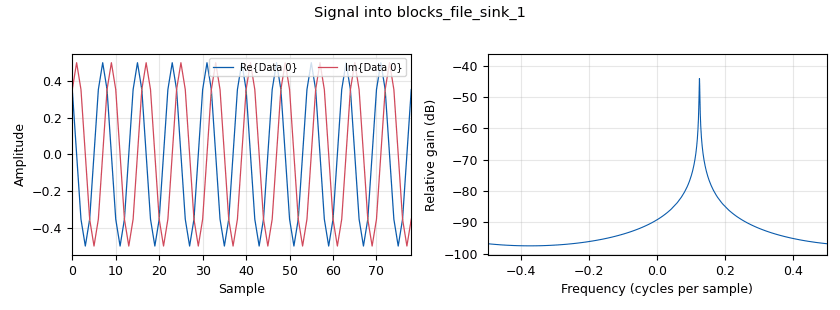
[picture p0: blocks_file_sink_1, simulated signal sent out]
<?xml version='1.0' encoding='utf-8'?>
<?grc format='1' created='3.7.13'?>
<flow_graph>
<block>
<key>options</key>
<param><key>id</key><value>generate_waveform_sine</value></param>
<param><key>author</key><value>Krishna Makhija</value></param>
<param><key>description</key><value>GR flograph for generating a calibration waveform. The waveform will be ON/OFF keyed to mitigate multipath, enable phase consistency and averaging.</value></param>
<param><key>generate_options</key><value>qt_gui</value></param>
<param><key>realtime_scheduling</key><value>1</value></param>
<param><key>run_options</key><value>run</value></param>
</block>
<block>
<key>variable</key>
<param><key>id</key><value>OFF</value></param>
<param><key>value</key><value>int(OFF_cycles*samps_per_period)</value></param>
</block>
<block>
<key>variable</key>
<param><key>id</key><value>OFF_cycles</value></param>
<param><key>value</key><value>3*ON_cycles</value></param>
</block>
<block>
<key>variable</key>
<param><key>id</key><value>OFF_time</value></param>
<param><key>value</key><value>OFF/samp_rate</value></param>
</block>
<block>
<key>variable</key>
<param><key>id</key><value>ON</value></param>
<param><key>value</key><value>int(ON_cycles*samps_per_period)</value></param>
</block>
<block>
<key>variable</key>
<param><key>id</key><value>ON_cycles</value></param>
<param><key>value</key><value>128</value></param>
</block>
<block>
<key>variable</key>
<param><key>id</key><value>ON_time</value></param>
<param><key>value</key><value>ON/samp_rate</value></param>
</block>
<block>
<key>variable</key>
<param><key>id</key><value>PASS</value></param>
<param><key>value</key><value>ON+OFF</value></param>
</block>
<block>
<key>variable</key>
<param><key>id</key><value>Q</value></param>
<param><key>value</key><value>head*4</value></param>
</block>
<block>
<key>variable</key>
<param><key>id</key><value>TX_time</value></param>
<param><key>value</key><value>head/samp_rate</value></param>
</block>
<block>
<key>variable</key>
<param><key>id</key><value>TX_time_1</value></param>
<param><key>comment</key><value>Time to calibrate per WP.</value></param>
<param><key>value</key><value>pulse_time * pulses</value></param>
</block>
<block>
<key>variable</key>
<param><key>id</key><value>WAIT</value></param>
<param><key>value</key><value>ON+OFF</value></param>
</block>
<block>
<key>variable</key>
<param><key>id</key><value>center_freq</value></param>
<param><key>value</key><value>150e6</value></param>
</block>
<block>
<key>variable</key>
<param><key>id</key><value>duty_cycle</value></param>
<param><key>value</key><value>OFF/ON</value></param>
</block>
<block>
<key>variable</key>
<param><key>id</key><value>freq</value></param>
<param><key>value</key><value>center_freq - wave_freq</value></param>
</block>
<block>
<key>variable</key>
<param><key>id</key><value>gain</value></param>
<param><key>value</key><value>20</value></param>
</block>
<block>
<key>variable</key>
<param><key>id</key><value>gauss_envelope</value></param>
<param><key>value</key><value>np.exp(-(2*np.pi*freq*t/Q)**2)</value></param>
</block>
<block>
<key>variable</key>
<param><key>id</key><value>head</value></param>
<param><key>value</key><value>(ON+OFF)*16</value></param>
</block>
<block>
<key>variable</key>
<param><key>id</key><value>min_buffer</value></param>
<param><key>value</key><value>512*4096</value></param>
</block>
<block>
<key>variable</key>
<param><key>id</key><value>pulse_time</value></param>
<param><key>value</key><value>(ON+OFF)/samp_rate</value></param>
</block>
<block>
<key>variable</key>
<param><key>id</key><value>pulses</value></param>
<param><key>value</key><value>96*2</value></param>
</block>
<block>
<key>variable</key>
<param><key>id</key><value>ring_buffer_size</value></param>
<param><key>value</key><value>4096</value></param>
</block>
<block>
<key>variable</key>
<param><key>id</key><value>samp_rate</value></param>
<param><key>value</key><value>7.68e6</value></param>
</block>
<block>
<key>variable</key>
<param><key>id</key><value>samps_per_period</value></param>
<param><key>value</key><value>wave_samp_rate/wave_freq</value></param>
</block>
<block>
<key>variable</key>
<param><key>id</key><value>stopTime</value></param>
<param><key>value</key><value>ON/samp_rate</value></param>
</block>
<block>
<key>variable</key>
<param><key>id</key><value>t</value></param>
<param><key>value</key><value>np.linspace(-stopTime/2, stopTime/2, ON)</value></param>
</block>
<block>
<key>variable</key>
<param><key>id</key><value>timeout</value></param>
<param><key>value</key><value>4096/samp_rate</value></param>
</block>
<block>
<key>variable_tag_object</key>
<param><key>id</key><value>variable_tag_object_0</value></param>
<param><key>key</key><value>pmt.intern("key")</value></param>
<param><key>offset</key><value>0</value></param>
<param><key>src</key><value>pmt.intern("src")</value></param>
<param><key>value</key><value>pmt.intern("value")</value></param>
</block>
<block>
<key>variable</key>
<param><key>id</key><value>wave_freq</value></param>
<param><key>value</key><value>samp_rate/8</value></param>
</block>
<block>
<key>variable</key>
<param><key>id</key><value>wave_samp_rate</value></param>
<param><key>value</key><value>samp_rate</value></param>
</block>
<block>
<key>analog_sig_source_x</key>
<param><key>id</key><value>analog_sig_source_x_0</value></param>
<param><key>amp</key><value>1</value></param>
<param><key>freq</key><value>wave_freq</value></param>
<param><key>offset</key><value>0</value></param>
<param><key>type</key><value>complex</value></param>
<param><key>samp_rate</key><value>wave_samp_rate</value></param>
<param><key>waveform</key><value>analog.GR_COS_WAVE</value></param>
</block>
<block>
<key>blocks_add_xx</key>
<param><key>id</key><value>blocks_add_xx_0</value></param>
<param><key>_enabled</key><value>0</value></param>
<param><key>type</key><value>complex</value></param>
</block>
<block>
<key>blocks_file_sink</key>
<param><key>id</key><value>blocks_file_sink_1</value></param>
<param><key>file</key><value>/home/kmakhija/catkin_ws/src/Drone-Project-code/Payload Computer/sine_waveform</value></param>
<param><key>type</key><value>complex</value></param>
</block>
<block>
<key>blocks_file_source</key>
<param><key>id</key><value>blocks_file_source_1</value></param>
<param><key>_enabled</key><value>0</value></param>
<param><key>file</key><value>/home/kmakhija/catkin_ws/src/Drone-Project-code/Payload Computer/sine_waveform</value></param>
<param><key>type</key><value>complex</value></param>
<param><key>repeat</key><value>True</value></param>
</block>
<block>
<key>blocks_head</key>
<param><key>id</key><value>blocks_head_0_0_0</value></param>
<param><key>num_items</key><value>head</value></param>
<param><key>type</key><value>complex</value></param>
</block>
<block>
<key>blocks_multiply_const_vxx</key>
<param><key>id</key><value>blocks_multiply_const_vxx_0</value></param>
<param><key>const</key><value>0.5</value></param>
<param><key>type</key><value>complex</value></param>
</block>
<block>
<key>blocks_multiply_const_vxx</key>
<param><key>id</key><value>blocks_multiply_const_vxx_1</value></param>
<param><key>const</key><value>gauss_envelope</value></param>
<param><key>_enabled</key><value>2</value></param>
<param><key>type</key><value>complex</value></param>
<param><key>maxoutbuf</key><value>4096</value></param>
<param><key>minoutbuf</key><value>4096</value></param>
<param><key>vlen</key><value>ring_buffer_size</value></param>
</block>
<block>
<key>blocks_multiply_xx</key>
<param><key>id</key><value>blocks_multiply_xx_0</value></param>
<param><key>type</key><value>complex</value></param>
<param><key>maxoutbuf</key><value>ring_buffer_size</value></param>
<param><key>minoutbuf</key><value>ring_buffer_size</value></param>
</block>
<block>
<key>blocks_stream_to_vector</key>
<param><key>id</key><value>blocks_stream_to_vector_0</value></param>
<param><key>_enabled</key><value>2</value></param>
<param><key>type</key><value>complex</value></param>
<param><key>num_items</key><value>ring_buffer_size</value></param>
</block>
<block>
<key>blocks_throttle</key>
<param><key>id</key><value>blocks_throttle_0</value></param>
<param><key>maxoutbuf</key><value>ring_buffer_size</value></param>
<param><key>minoutbuf</key><value>ring_buffer_size</value></param>
<param><key>samples_per_second</key><value>samp_rate</value></param>
<param><key>type</key><value>complex</value></param>
</block>
<block>
<key>blocks_throttle</key>
<param><key>id</key><value>blocks_throttle_0_0</value></param>
<param><key>_enabled</key><value>0</value></param>
<param><key>maxoutbuf</key><value>ring_buffer_size</value></param>
<param><key>minoutbuf</key><value>ring_buffer_size</value></param>
<param><key>samples_per_second</key><value>samp_rate</value></param>
<param><key>type</key><value>complex</value></param>
</block>
<block>
<key>blocks_vector_source_x</key>
<param><key>id</key><value>blocks_vector_source_x_0</value></param>
<param><key>maxoutbuf</key><value>ring_buffer_size</value></param>
<param><key>minoutbuf</key><value>ring_buffer_size</value></param>
<param><key>type</key><value>complex</value></param>
<param><key>repeat</key><value>True</value></param>
<param><key>vector</key><value>np.hstack((np.zeros(OFF), np.ones(ON)))</value></param>
</block>
<block>
<key>blocks_vector_source_x</key>
<param><key>id</key><value>blocks_vector_source_x_1</value></param>
<param><key>comment</key><value>Create an initialization pulse that has higher amplitude for 
identification during post processing.</value></param>
<param><key>_enabled</key><value>0</value></param>
<param><key>type</key><value>complex</value></param>
<param><key>repeat</key><value>True</value></param>
<param><key>vector</key><value>np.hstack((2*np.ones(ON), np.zeros(OFF), np.zeros(pulses*PASS)))</value></param>
</block>
<block>
<key>blocks_vector_to_stream</key>
<param><key>id</key><value>blocks_vector_to_stream_0</value></param>
<param><key>_enabled</key><value>2</value></param>
<param><key>type</key><value>complex</value></param>
<param><key>num_items</key><value>ring_buffer_size</value></param>
</block>
<block>
<key>import</key>
<param><key>id</key><value>import_0</value></param>
<param><key>import</key><value>import numpy as np</value></param>
</block>
<block>
<key>import</key>
<param><key>id</key><value>numpy</value></param>
<param><key>import</key><value>import numpy as np</value></param>
</block>
<block>
<key>qtgui_freq_sink_x</key>
<param><key>id</key><value>qtgui_freq_sink_x_0</value></param>
<param><key>bw</key><value>samp_rate</value></param>
<param><key>fc</key><value>0</value></param>
<param><key>ctrlpanel</key><value>True</value></param>
<param><key>_enabled</key><value>0</value></param>
<param><key>fftsize</key><value>4096</value></param>
<param><key>showports</key><value>True</value></param>
<param><key>tr_level</key><value>-18</value></param>
<param><key>tr_mode</key><value>qtgui.TRIG_MODE_NORM</value></param>
<param><key>type</key><value>complex</value></param>
<param><key>wintype</key><value>firdes.WIN_BLACKMAN_hARRIS</value></param>
<param><key>ymin</key><value>-200</value></param>
</block>
<block>
<key>qtgui_time_sink_x</key>
<param><key>id</key><value>qtgui_time_sink_x_0</value></param>
<param><key>ctrlpanel</key><value>True</value></param>
<param><key>_enabled</key><value>0</value></param>
<param><key>color1</key><value>"blue"</value></param>
<param><key>label1</key><value></value></param>
<param><key>color2</key><value>"red"</value></param>
<param><key>label2</key><value></value></param>
<param><key>size</key><value>1024</value></param>
<param><key>srate</key><value>samp_rate</value></param>
<param><key>type</key><value>complex</value></param>
</block>
<block>
<key>qtgui_time_sink_x</key>
<param><key>id</key><value>qtgui_time_sink_x_0_0</value></param>
<param><key>ctrlpanel</key><value>True</value></param>
<param><key>_enabled</key><value>0</value></param>
<param><key>color1</key><value>"blue"</value></param>
<param><key>label1</key><value></value></param>
<param><key>color2</key><value>"red"</value></param>
<param><key>label2</key><value></value></param>
<param><key>size</key><value>1024*128</value></param>
<param><key>srate</key><value>samp_rate</value></param>
<param><key>type</key><value>complex</value></param>
</block>
<connection><source_block_id>analog_sig_source_x_0</source_block_id><sink_block_id>blocks_multiply_xx_0</sink_block_id><source_key>0</source_key><sink_key>0</sink_key></connection>
<connection><source_block_id>blocks_add_xx_0</source_block_id><sink_block_id>blocks_multiply_xx_0</sink_block_id><source_key>0</source_key><sink_key>1</sink_key></connection>
<connection><source_block_id>blocks_file_source_1</source_block_id><sink_block_id>blocks_throttle_0_0</sink_block_id><source_key>0</source_key><sink_key>0</sink_key></connection>
<connection><source_block_id>blocks_head_0_0_0</source_block_id><sink_block_id>blocks_stream_to_vector_0</sink_block_id><source_key>0</source_key><sink_key>0</sink_key></connection>
<connection><source_block_id>blocks_multiply_const_vxx_0</source_block_id><sink_block_id>blocks_head_0_0_0</sink_block_id><source_key>0</source_key><sink_key>0</sink_key></connection>
<connection><source_block_id>blocks_multiply_const_vxx_1</source_block_id><sink_block_id>blocks_vector_to_stream_0</sink_block_id><source_key>0</source_key><sink_key>0</sink_key></connection>
<connection><source_block_id>blocks_multiply_xx_0</source_block_id><sink_block_id>blocks_throttle_0</sink_block_id><source_key>0</source_key><sink_key>0</sink_key></connection>
<connection><source_block_id>blocks_stream_to_vector_0</source_block_id><sink_block_id>blocks_multiply_const_vxx_1</sink_block_id><source_key>0</source_key><sink_key>0</sink_key></connection>
<connection><source_block_id>blocks_throttle_0</source_block_id><sink_block_id>blocks_multiply_const_vxx_0</sink_block_id><source_key>0</source_key><sink_key>0</sink_key></connection>
<connection><source_block_id>blocks_throttle_0_0</source_block_id><sink_block_id>qtgui_time_sink_x_0</sink_block_id><source_key>0</source_key><sink_key>0</sink_key></connection>
<connection><source_block_id>blocks_vector_source_x_0</source_block_id><sink_block_id>blocks_add_xx_0</sink_block_id><source_key>0</source_key><sink_key>0</sink_key></connection>
<connection><source_block_id>blocks_vector_source_x_0</source_block_id><sink_block_id>blocks_multiply_xx_0</sink_block_id><source_key>0</source_key><sink_key>1</sink_key></connection>
<connection><source_block_id>blocks_vector_source_x_1</source_block_id><sink_block_id>blocks_add_xx_0</sink_block_id><source_key>0</source_key><sink_key>1</sink_key></connection>
<connection><source_block_id>blocks_vector_to_stream_0</source_block_id><sink_block_id>blocks_file_sink_1</sink_block_id><source_key>0</source_key><sink_key>0</sink_key></connection>
</flow_graph>
